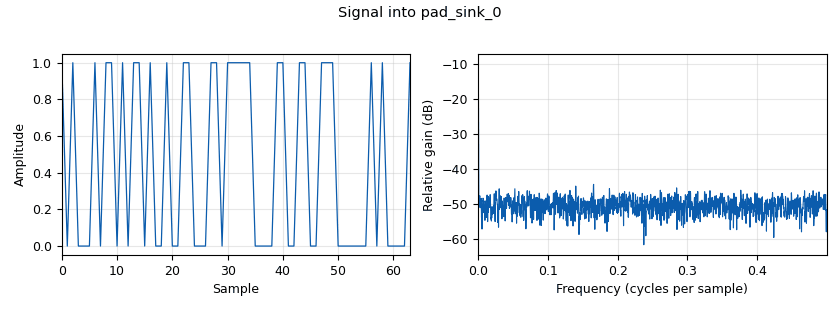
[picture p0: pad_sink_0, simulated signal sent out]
options:
  parameters:
    author: Homero Ortega Boada. Universidad Industrial de Santader
    category: '''[comdiguis]'''
    copyright: Grupo RadioGis Universidad Industrial de Santander
    description: This is a binary random generator with output of type float
    generate_options: hb
    id: b_binary_gen_rand
    output_language: python
    title: b_binary_rand_source_f
  states: {}

blocks:
- name: analog_random_source_x_0
  id: analog_random_source_x
  parameters:
    max: '2'
    min: '0'
    num_samps: '1000000'
    repeat: 'True'
    type: int
  states: {}
- name: blocks_int_to_float_0
  id: blocks_int_to_float
  parameters:
    scale: '1'
  states: {}
- name: pad_sink_0
  id: pad_sink
  parameters:
    label: out
    type: float
  states: {}

connections:
- [analog_random_source_x_0, '0', blocks_int_to_float_0, '0']
- [blocks_int_to_float_0, '0', pad_sink_0, '0']

metadata:
  file_format: 1
